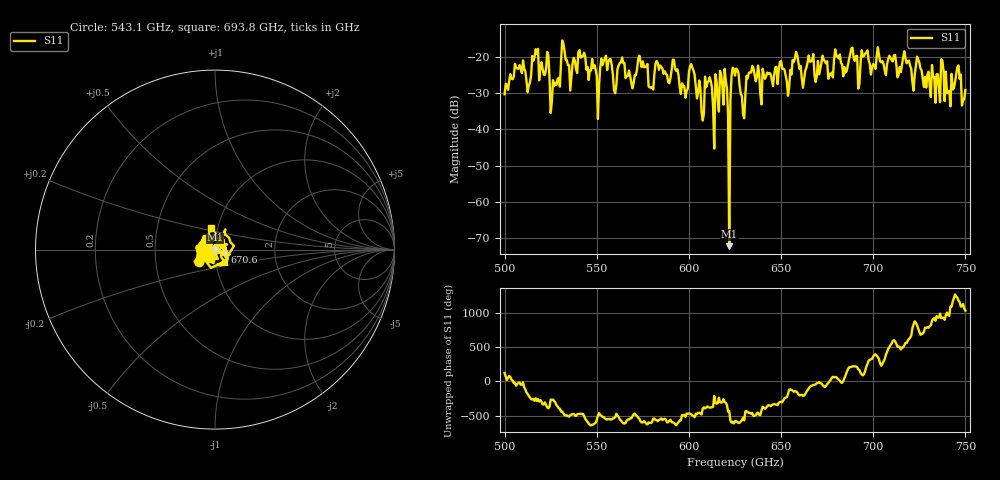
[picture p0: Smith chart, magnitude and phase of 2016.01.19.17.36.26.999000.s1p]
!Created with skrf (http://scikit-rf.org).
# GHz S RI R 50.0
!freq ReS11 ImS11
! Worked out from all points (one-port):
!   401 points, 500 GHz to 750 GHz, reference 50 ohm
!   lowest |S11| = -72.2 dB at 621.9 GHz (marker M1), VSWR 1.00, Z = 50 - j0.0236 ohm
!   |S11| at or under -10 dB: start of sweep to end of sweep
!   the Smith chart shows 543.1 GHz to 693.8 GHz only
!   S11 on the Smith chart (normalised r, x): 543.1 GHz: 0.83, -0.12; 670.6 GHz: 1.12, -0.03; 693.8 GHz: 0.93, +0.23
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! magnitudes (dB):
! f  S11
! 500 GHz  -30.3
! 506.9 GHz  -23.2
! 513.1 GHz  -27.8
! 516.9 GHz  -17.9
! 526.2 GHz  -26.4
! 531.2 GHz  -15.5
! 543.1 GHz  -18.8
! 550.6 GHz  -37.1
! 553.8 GHz  -21.1
! 560 GHz  -30.0
! 562.5 GHz  -21.7
! 579.4 GHz  -28.5
! 583.1 GHz  -21.7
! 593.8 GHz  -23.4
! 598.1 GHz  -31.3
! 601.9 GHz  -23.0
! 606.9 GHz  -35.3
! 618.1 GHz  -28.0
! 621.9 GHz  -72.2
! 625 GHz  -25.2
! 629.4 GHz  -35.8
! 633.8 GHz  -24.3
! 656.2 GHz  -20.9
! 670.6 GHz  -24.8
! 687.5 GHz  -19.2
! 693.8 GHz  -18.2
! 718.8 GHz  -21.2
! 750 GHz  -29.1
